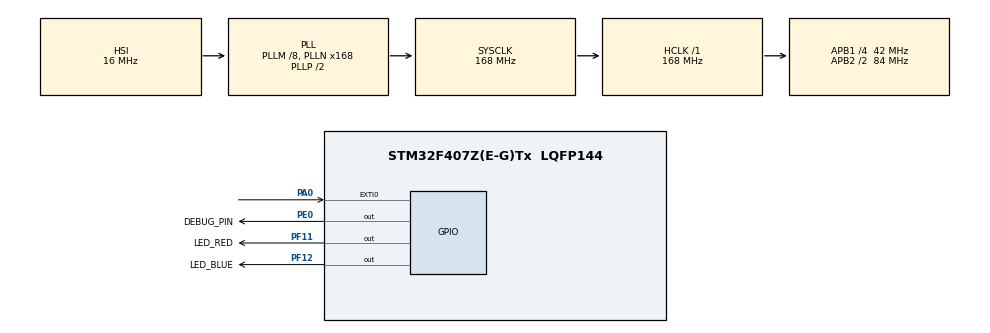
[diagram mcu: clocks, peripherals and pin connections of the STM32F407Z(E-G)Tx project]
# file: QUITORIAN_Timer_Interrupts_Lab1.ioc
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Mcu.Family=STM32F4
Mcu.Name=STM32F407Z(E-G)Tx
Mcu.Package=LQFP144
NVIC.EXTI0_IRQn=true\:2\:0\:true\:false\:true\:true\:true\:true
NVIC.PriorityGroup=NVIC_PRIORITYGROUP_4
NVIC.TIM2_IRQn=true\:0\:0\:false\:false\:true\:true\:true\:true
NVIC.TIM3_IRQn=true\:1\:0\:true\:false\:true\:true\:true\:true
PA0-WKUP.GPIO_PuPd=GPIO_PULLDOWN
PA0-WKUP.Signal=GPXTI0
PE0.GPIO_Label=DEBUG_PIN
PE0.Signal=GPIO_Output
PF11.GPIO_Label=LED_RED
PF11.Signal=GPIO_Output
PF12.GPIO_Label=LED_BLUE
PF12.Signal=GPIO_Output
ProjectManager.HeapSize=0x200
ProjectManager.StackSize=0x400
ProjectManager.TargetToolchain=STM32CubeIDE
RCC.48MHZClocksFreq_Value=84000000
RCC.AHBFreq_Value=168000000
RCC.APB1CLKDivider=RCC_HCLK_DIV4
RCC.APB1Freq_Value=42000000
RCC.APB1TimFreq_Value=84000000
RCC.APB2CLKDivider=RCC_HCLK_DIV2
RCC.APB2Freq_Value=84000000
RCC.APB2TimFreq_Value=168000000
RCC.CortexFreq_Value=168000000
RCC.HCLKFreq_Value=168000000
RCC.HSE_VALUE=25000000
RCC.HSI_VALUE=16000000
RCC.LSE_VALUE=32768
RCC.PLLM=8
RCC.PLLN=168
RCC.SYSCLKFreq_VALUE=168000000
RCC.SYSCLKSource=RCC_SYSCLKSOURCE_PLLCLK
RCC.VCOOutputFreq_Value=336000000
TIM2.Period=9999
TIM2.Prescaler=8399
TIM3.Period=4999
TIM3.Prescaler=8399
VP_TIM2_VS_ClockSourceINT.Mode=Internal
VP_TIM3_VS_ClockSourceINT.Mode=Internal
board=custom

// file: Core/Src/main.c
/* USER CODE BEGIN Header */
/**
  ******************************************************************************
  * @file           : main.c
  * @brief          : Main program body
  ******************************************************************************
  * @attention
  *
  * Copyright (c) 2026 STMicroelectronics.
  * All rights reserved.
  *
  * This software is licensed under terms that can be found in the LICENSE file
  * in the root directory of this software component.
  * If no LICENSE file comes with this software, it is provided AS-IS.
  *
  ******************************************************************************
  */
/* USER CODE END Header */
#include "main.h"

TIM_HandleTypeDef htim2;
TIM_HandleTypeDef htim3;

/* USER CODE BEGIN PV */
volatile uint8_t task_adc_ready = 0;
volatile uint8_t task_display_ready = 0;
volatile uint32_t tick_count = 0;
/* USER CODE END PV */

void SystemClock_Config(void);
static void MX_GPIO_Init(void);
static void MX_TIM2_Init(void);
static void MX_TIM3_Init(void);

/* USER CODE BEGIN 0 */

// Timer 2 Interrupt Callback - called every 1 second
void HAL_TIM_PeriodElapsedCallback(TIM_HandleTypeDef *htim)
{
    // Background Task 1: TIM2 @ 1 Hz (high priority)
	if (htim->Instance == TIM2)
	{
	    HAL_GPIO_WritePin(DEBUG_PIN_GPIO_Port, DEBUG_PIN_Pin, GPIO_PIN_SET);
	    HAL_GPIO_TogglePin(LED_RED_GPIO_Port, LED_RED_Pin);
	    task_adc_ready = 1;
	    HAL_GPIO_WritePin(DEBUG_PIN_GPIO_Port, DEBUG_PIN_Pin, GPIO_PIN_RESET);
	}

    // Background Task 2: TIM3 @ 2 Hz (lower priority)
    if (htim->Instance == TIM3)
    {
        HAL_GPIO_TogglePin(LED_BLUE_GPIO_Port, LED_BLUE_Pin);
        task_display_ready = 1;  // tell foreground to update display
    }
}

/* USER CODE END 0 */

int main(void)
{

  /* MCU Configuration--------------------------------------------------------*/

  /* Reset of all peripherals, Initializes the Flash interface and the Systick. */
  HAL_Init();

  /* Configure the system clock */
  SystemClock_Config();

  /* Initialize all configured peripherals */
  MX_GPIO_Init();
  MX_TIM2_Init();
  MX_TIM3_Init();
  /* USER CODE BEGIN 2 */

  HAL_TIM_Base_Start_IT(&htim2);
  HAL_TIM_Base_Start_IT(&htim3);

  /* USER CODE END 2 */

  /* Infinite loop */
  while (1)
  {

    /* USER CODE BEGIN 3 */
	  // Task A: ADC processing (triggered by TIM2 every 1s)
		  if (task_adc_ready)
		  {
			  HAL_GPIO_WritePin(DEBUG_PIN_GPIO_Port, DEBUG_PIN_Pin, GPIO_PIN_SET);
			  task_adc_ready = 0;
			  HAL_Delay(50);
			  HAL_GPIO_WritePin(DEBUG_PIN_GPIO_Port, DEBUG_PIN_Pin, GPIO_PIN_RESET);
		  }

	      // Task B: Display update (triggered by TIM3 every 0.5s)
	      if (task_display_ready)
	      {
	          task_display_ready = 0;
	          HAL_Delay(20);   // simulate 20ms display update
	      }

	      // Task C: 10-second periodic monitoring
	      if (tick_count >= 10)
	      {
	          tick_count = 0;
	          // perform 10-second task here
	      }
  }
  /* USER CODE END 3 */
}

void SystemClock_Config(void)
{
  RCC_OscInitTypeDef RCC_OscInitStruct = {0};
  RCC_ClkInitTypeDef RCC_ClkInitStruct = {0};

  /** Configure the main internal regulator output voltage
  */
  __HAL_RCC_PWR_CLK_ENABLE();
  __HAL_PWR_VOLTAGESCALING_CONFIG(PWR_REGULATOR_VOLTAGE_SCALE1);

  /** Initializes the RCC Oscillators according to the specified parameters
  * in the RCC_OscInitTypeDef structure.
  */
  RCC_OscInitStruct.OscillatorType = RCC_OSCILLATORTYPE_HSI;
  RCC_OscInitStruct.HSIState = RCC_HSI_ON;
  RCC_OscInitStruct.HSICalibrationValue = RCC_HSICALIBRATION_DEFAULT;
  RCC_OscInitStruct.PLL.PLLState = RCC_PLL_ON;
  RCC_OscInitStruct.PLL.PLLSource = RCC_PLLSOURCE_HSI;
  RCC_OscInitStruct.PLL.PLLM = 8;
  RCC_OscInitStruct.PLL.PLLN = 168;
  RCC_OscInitStruct.PLL.PLLP = RCC_PLLP_DIV2;
  RCC_OscInitStruct.PLL.PLLQ = 4;
  if (HAL_RCC_OscConfig(&RCC_OscInitStruct) != HAL_OK)
  {
    Error_Handler();
  }

  /** Initializes the CPU, AHB and APB buses clocks
  */
  RCC_ClkInitStruct.ClockType = RCC_CLOCKTYPE_HCLK|RCC_CLOCKTYPE_SYSCLK
                              |RCC_CLOCKTYPE_PCLK1|RCC_CLOCKTYPE_PCLK2;
  RCC_ClkInitStruct.SYSCLKSource = RCC_SYSCLKSOURCE_PLLCLK;
  RCC_ClkInitStruct.AHBCLKDivider = RCC_SYSCLK_DIV1;
  RCC_ClkInitStruct.APB1CLKDivider = RCC_HCLK_DIV4;
  RCC_ClkInitStruct.APB2CLKDivider = RCC_HCLK_DIV2;

  if (HAL_RCC_ClockConfig(&RCC_ClkInitStruct, FLASH_LATENCY_5) != HAL_OK)
  {
    Error_Handler();
  }
}

static void MX_TIM2_Init(void)
{

  TIM_ClockConfigTypeDef sClockSourceConfig = {0};
  TIM_MasterConfigTypeDef sMasterConfig = {0};

  htim2.Instance = TIM2;
  htim2.Init.Prescaler = 8399;
  htim2.Init.CounterMode = TIM_COUNTERMODE_UP;
  htim2.Init.Period = 9999;
  htim2.Init.ClockDivision = TIM_CLOCKDIVISION_DIV1;
  htim2.Init.AutoReloadPreload = TIM_AUTORELOAD_PRELOAD_DISABLE;
  if (HAL_TIM_Base_Init(&htim2) != HAL_OK)
  {
    Error_Handler();
  }
  sClockSourceConfig.ClockSource = TIM_CLOCKSOURCE_INTERNAL;
  if (HAL_TIM_ConfigClockSource(&htim2, &sClockSourceConfig) != HAL_OK)
  {
    Error_Handler();
  }
  sMasterConfig.MasterOutputTrigger = TIM_TRGO_RESET;
  sMasterConfig.MasterSlaveMode = TIM_MASTERSLAVEMODE_DISABLE;
  if (HAL_TIMEx_MasterConfigSynchronization(&htim2, &sMasterConfig) != HAL_OK)
  {
    Error_Handler();
  }

}

static void MX_TIM3_Init(void)
{

  TIM_ClockConfigTypeDef sClockSourceConfig = {0};
  TIM_MasterConfigTypeDef sMasterConfig = {0};

  htim3.Instance = TIM3;
  htim3.Init.Prescaler = 8399;
  htim3.Init.CounterMode = TIM_COUNTERMODE_UP;
  htim3.Init.Period = 4999;
  htim3.Init.ClockDivision = TIM_CLOCKDIVISION_DIV1;
  htim3.Init.AutoReloadPreload = TIM_AUTORELOAD_PRELOAD_DISABLE;
  if (HAL_TIM_Base_Init(&htim3) != HAL_OK)
  {
    Error_Handler();
  }
  sClockSourceConfig.ClockSource = TIM_CLOCKSOURCE_INTERNAL;
  if (HAL_TIM_ConfigClockSource(&htim3, &sClockSourceConfig) != HAL_OK)
  {
    Error_Handler();
  }
  sMasterConfig.MasterOutputTrigger = TIM_TRGO_RESET;
  sMasterConfig.MasterSlaveMode = TIM_MASTERSLAVEMODE_DISABLE;
  if (HAL_TIMEx_MasterConfigSynchronization(&htim3, &sMasterConfig) != HAL_OK)
  {
    Error_Handler();
  }

}

static void MX_GPIO_Init(void)
{
  GPIO_InitTypeDef GPIO_InitStruct = {0};

  /* GPIO Ports Clock Enable */
  __HAL_RCC_GPIOA_CLK_ENABLE();
  __HAL_RCC_GPIOF_CLK_ENABLE();
  __HAL_RCC_GPIOE_CLK_ENABLE();

  /*Configure GPIO pin Output Level */
  HAL_GPIO_WritePin(GPIOF, LED_RED_Pin|LED_BLUE_Pin, GPIO_PIN_RESET);

  /*Configure GPIO pin Output Level */
  HAL_GPIO_WritePin(DEBUG_PIN_GPIO_Port, DEBUG_PIN_Pin, GPIO_PIN_RESET);

  /*Configure GPIO pin : PA0 */
  GPIO_InitStruct.Pin = GPIO_PIN_0;
  GPIO_InitStruct.Mode = GPIO_MODE_IT_RISING;
  GPIO_InitStruct.Pull = GPIO_PULLDOWN;
  HAL_GPIO_Init(GPIOA, &GPIO_InitStruct);

  /*Configure GPIO pins : LED_RED_Pin LED_BLUE_Pin */
  GPIO_InitStruct.Pin = LED_RED_Pin|LED_BLUE_Pin;
  GPIO_InitStruct.Mode = GPIO_MODE_OUTPUT_PP;
  GPIO_InitStruct.Pull = GPIO_NOPULL;
  GPIO_InitStruct.Speed = GPIO_SPEED_FREQ_LOW;
  HAL_GPIO_Init(GPIOF, &GPIO_InitStruct);

  /*Configure GPIO pin : DEBUG_PIN_Pin */
  GPIO_InitStruct.Pin = DEBUG_PIN_Pin;
  GPIO_InitStruct.Mode = GPIO_MODE_OUTPUT_PP;
  GPIO_InitStruct.Pull = GPIO_NOPULL;
  GPIO_InitStruct.Speed = GPIO_SPEED_FREQ_LOW;
  HAL_GPIO_Init(DEBUG_PIN_GPIO_Port, &GPIO_InitStruct);

  /* EXTI interrupt init*/
  HAL_NVIC_SetPriority(EXTI0_IRQn, 2, 0);
  HAL_NVIC_EnableIRQ(EXTI0_IRQn);

}

/* USER CODE BEGIN 4 */
void HAL_GPIO_EXTI_Callback(uint16_t GPIO_Pin)
{
    if (GPIO_Pin == GPIO_PIN_0)
    {
        // Button pressed — toggle both LEDs immediately
        HAL_GPIO_TogglePin(LED_RED_GPIO_Port, LED_RED_Pin);
        HAL_GPIO_TogglePin(LED_BLUE_GPIO_Port, LED_BLUE_Pin);
    }
}
/* USER CODE END 4 */

void Error_Handler(void)
{
  __disable_irq();
  while (1)
  {
  }
}
